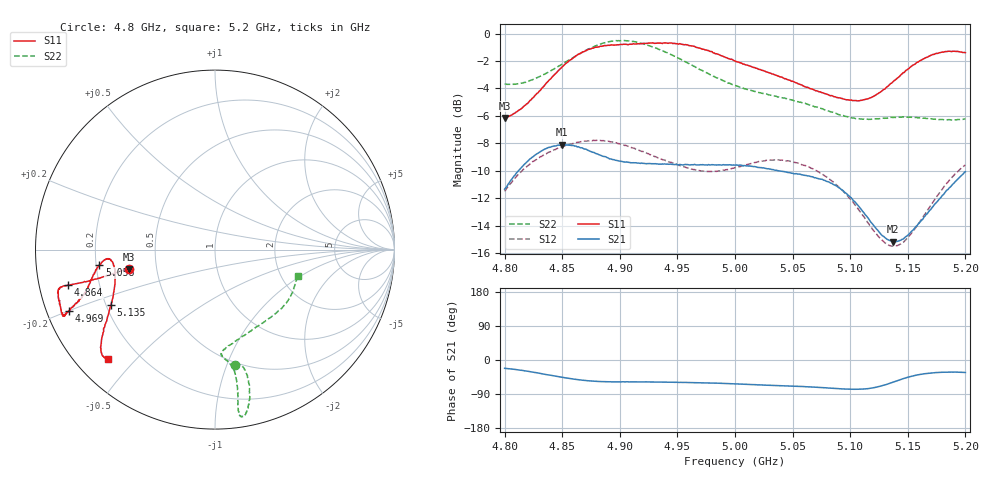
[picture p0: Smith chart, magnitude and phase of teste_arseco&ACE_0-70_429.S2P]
! Network Analyzer HP8722D
! Hewlett-Packard
! Data name: Linha & Wilkinson
! Saver's name: Rodrigo Anjos
! Comments: Teste da utilização de aquisição
! continua pelo VNA HP8722D
! Time and date: 8/5/2025 16:20
!  Frequency  S11  S21  S12  S22
# HZ  S  MA R 50
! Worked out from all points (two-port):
!   401 points, 4.8 GHz to 5.2 GHz, reference 50 ohm
!   highest |S21| = -8.11 dB at 4.85 GHz (marker M1); lowest = -15.2 dB at 5.137 GHz (marker M2)
!   |S21| within 3 dB of the highest: 4.802 GHz to 5.088 GHz (285.8 MHz wide, 5.78 % of centre); 5.187777 GHz to end of sweep
!   lowest |S11| = -6.2 dB at 4.8 GHz (marker M3), VSWR 2.94, Z = 17.2 - j5.03 ohm
!   |S11| at or under -10 dB: nowhere
!   |S22| runs from -6.3 to -0.5 dB; largest |S21 - S12| = 0.62
!   S11 on the Smith chart (normalised r, x): 4.8 GHz: 0.34, -0.10; 4.864 GHz: 0.09, -0.12; 4.969 GHz: 0.06, -0.20; 5.058 GHz: 0.21, -0.06; 5.135 GHz: 0.22, -0.24; 5.2 GHz: 0.09, -0.42
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4.8e9  0.492 -167.0  0.2708 -21.9  0.266 -143.0  0.6546 -80.1
4.821e9  0.5628 -166.9  0.3456 -30.2  0.332 -146.5  0.6709 -76.7
4.85e9  0.7559 -166.1  0.3932 -45.5  0.3869 -151.6  0.774 -75.7
4.864e9  0.8414 -166.3  0.3867 -52.0  0.4014 -153.6  0.8393 -76.7
4.867e9  0.8519 -166.3  0.3834 -53.1  0.4037 -154.1  0.8538 -77.0
4.898e9  0.9099 -163.7  0.3441 -57.6  0.3977 -157.8  0.9413 -80.4
4.913e9  0.9154 -160.4  0.3378 -57.7  0.381 -158.1  0.9336 -81.5
4.934e9  0.9236 -157.0  0.334 -58.3  0.3522 -156.4  0.8751 -81.6
4.969e9  0.8849 -157.2  0.3319 -59.9  0.3165 -148.1  0.7414 -80.7
5e9  0.7948 -160.0  0.3313 -63.0  0.3246 -138.4  0.6466 -82.2
5.036e9  0.704 -166.9  0.3172 -67.6  0.3457 -136.1  0.5903 -86.4
5.058e9  0.6492 -172.5  0.3056 -69.8  0.3324 -138.0  0.5601 -84.8
5.067e9  0.6277 -174.1  0.3006 -71.2  0.322 -138.9  0.5451 -82.8
5.083e9  0.5931 -175.0  0.2848 -74.3  0.2923 -140.2  0.5179 -76.3
5.1e9  0.572 -171.7  0.2536 -77.0  0.2495 -140.1  0.4957 -66.0
5.116e9  0.5794 -163.7  0.2112 -75.4  0.2029 -134.9  0.4863 -54.5
5.134e9  0.6497 -152.7  0.1762 -61.7  0.1686 -117.4  0.4931 -42.6
5.135e9  0.6562 -152.0  0.1754 -60.7  0.1684 -116.0  0.4944 -42.0
5.137e9  0.6666 -151.2  0.174 -58.7  0.168 -113.2  0.4945 -40.8
5.148e9  0.7314 -146.2  0.1813 -47.3  0.1766 -99.4  0.4964 -35.1
5.17e9  0.8328 -139.8  0.2283 -34.2  0.2365 -82.4  0.489 -25.3
5.2e9  0.8514 -134.3  0.3135 -32.9  0.3316 -78.6  0.487 -17.9
